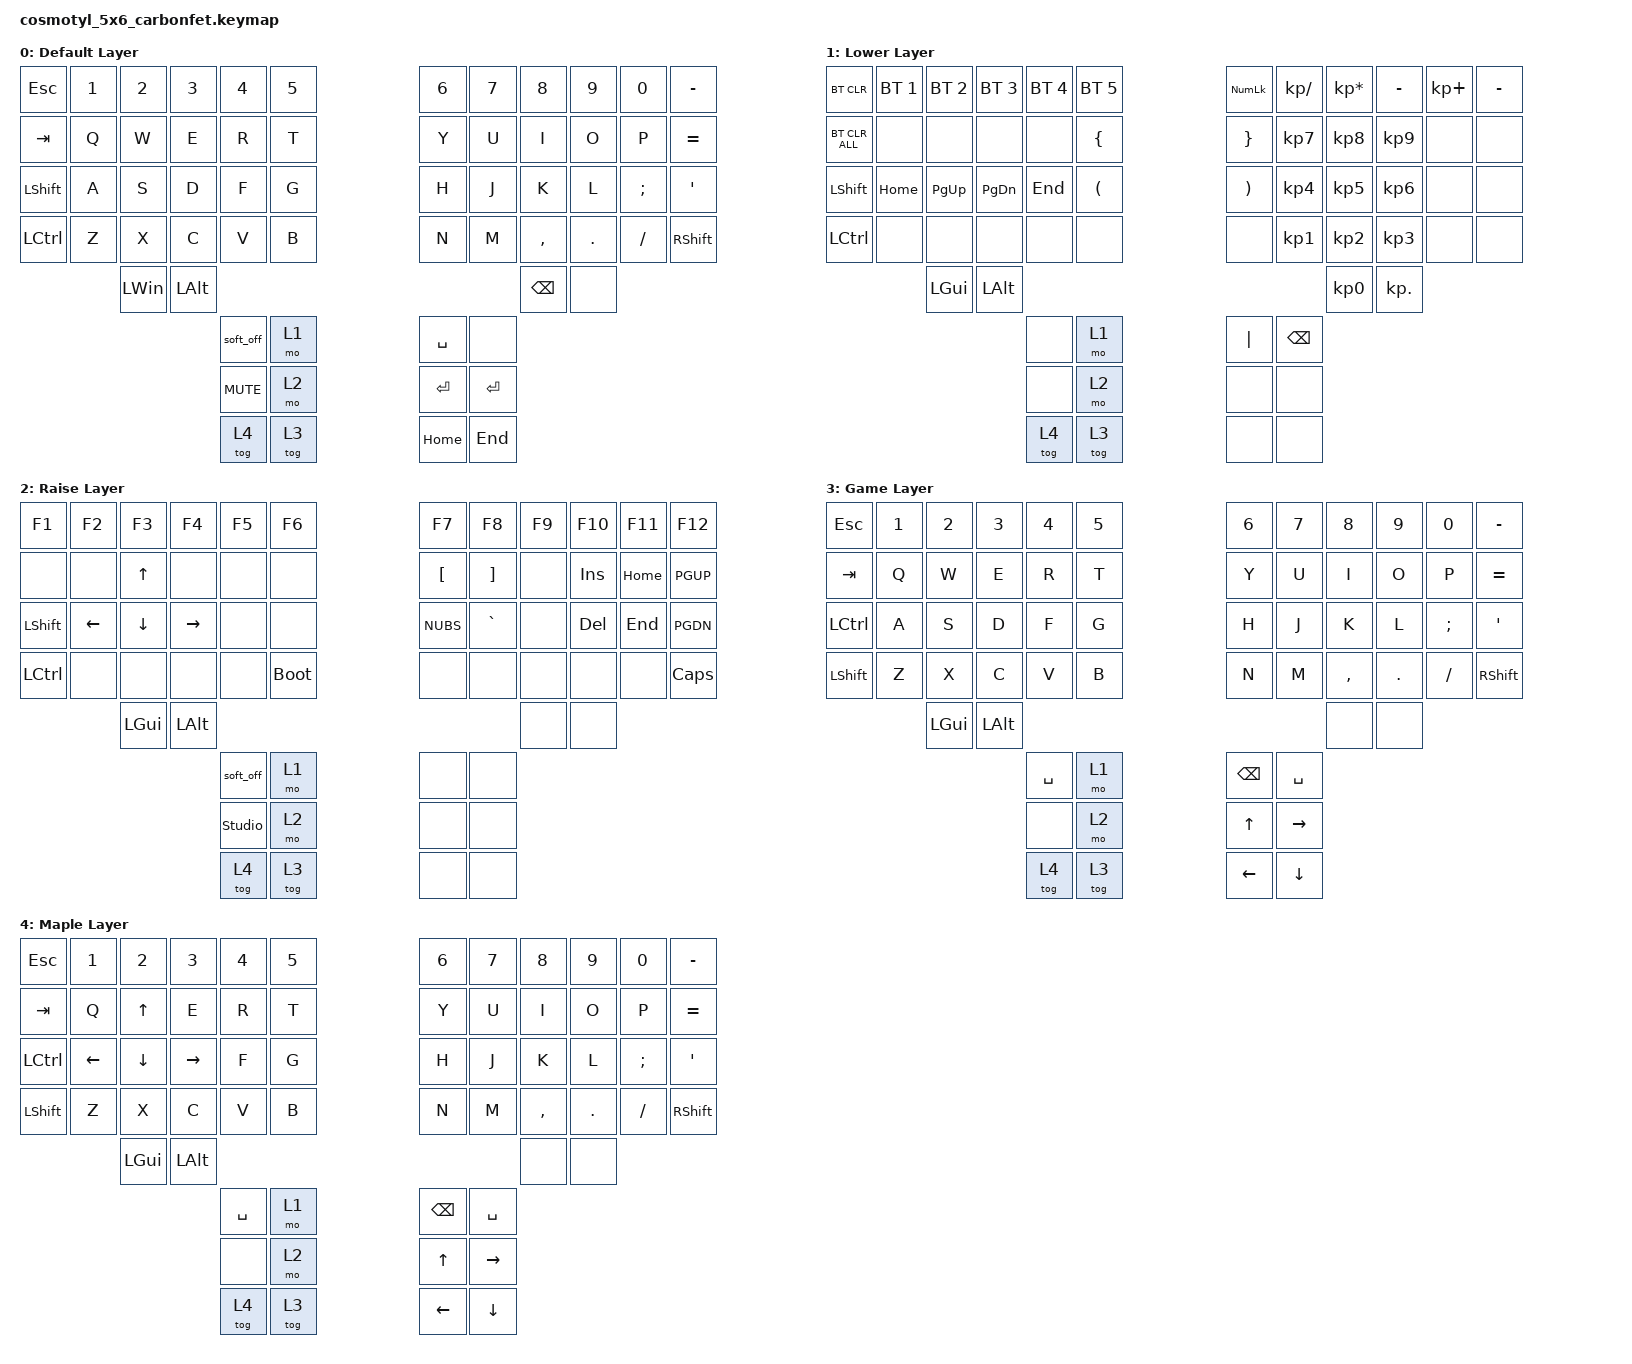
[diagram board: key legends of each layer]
/*
 * Copyright (c) 2020 The ZMK Contributors
 *
 * SPDX-License-Identifier: MIT
 */

#include <behaviors.dtsi>
#include <dt-bindings/zmk/keys.h>
#include <dt-bindings/zmk/bt.h>

&soft_off {
    hold-time-ms = <2000>; // Only turn off it the key is held for 5 seconds or longer.
};

/ {
        keymap {
                compatible = "zmk,keymap";

                default_layer {
                        display-name = "Default Layer";
                        bindings = <
                                &kp ESC    &kp N1  &kp N2  &kp N3  &kp N4     &kp N5                                             &kp N6     &kp N7         &kp N8        &kp N9     &kp N0     &kp MINUS
                                &kp TAB    &kp Q   &kp W   &kp E   &kp R      &kp T                                              &kp Y      &kp U          &kp I         &kp O      &kp P      &kp EQUAL
                                &kp LSHFT  &kp A   &kp S   &kp D   &kp F      &kp G                                              &kp H      &kp J          &kp K         &kp L      &kp SEMI   &kp SQT
                                &kp LCTRL  &kp Z   &kp X   &kp C   &kp V      &kp B                                              &kp N      &kp M          &kp COMMA     &kp DOT    &kp SLASH  &kp RSHFT
                                                   &kp LWIN     &kp LALT                                                                                   &kp BACKSPACE &none
                                                                &soft_off     &mo 1                                          &kp SPACE     &none
                                                                &kp K_MUTE    &mo 2                                          &kp RET       &kp RET
                                                                &tog 4        &tog 3                                         &kp HOME      &kp END
                                        >;
                                };

                Lower_layer {
                        display-name = "Lower Layer";
                        bindings = <
                                &bt BT_CLR     &bt BT_SEL 1    &bt BT_SEL 2         &bt BT_SEL 3  	&bt BT_SEL 4     &bt BT_SEL 5                    	&kp KP_NUM   &kp KP_SLASH 	&kp KP_ASTERISK    &kp MINUS         &kp KP_PLUS  &kp MINUS 
                                &bt BT_CLR_ALL &none           &none                &none 	        &none            &kp LBRC                         	&kp RBRC     &kp KP_NUMBER_7    &kp KP_NUMBER_8    &kp KP_NUMBER_9   &none        &none  
                                &kp LSHFT      &kp HOME        &kp PG_UP            &kp PG_DN           &kp END          &kp LPRN                               &kp RPRN     &kp KP_NUMBER_4    &kp KP_NUMBER_5    &kp KP_NUMBER_6   &none        &none  
                                &kp LCTRL      &none           &none                &none 	        &none            &none                        		&none 	     &kp KP_NUMBER_1    &kp KP_NUMBER_2    &kp KP_NUMBER_3   &none        &none  
                                                               &kp LGUI             &kp LALT            							                                &kp KP_NUMBER_0    &kp KP_DOT 
                                                                                &none	   &mo 1  	                                                         &kp PIPE &kp BSPC 
                                                                                &none 	   &mo 2           	                                                 &none &none 
                                                                                &tog 4     &tog 3                                                                &none &none
                                        >;
                                };
                Raise_layer {
                        display-name = "Raise Layer"; 
                        bindings = <
                                        &kp F1 	  &kp F2   &kp F3    	&kp F4    &kp F5  &kp F6                   		&kp F7    &kp F8    &kp F9 &kp F10  &kp F11   &kp F12 
                                        &none     &none    &kp UP       &none     &none  &none                    		&kp LBKT  &kp RBKT  &none  &kp INS  &kp HOME  &kp PGUP
                                        &kp LSHFT &kp LEFT &kp DOWN  	&kp RIGHT &none  &none                    		&kp NUBS  &kp GRAVE &none  &kp DEL  &kp END   &kp PGDN
                                        &kp LCTRL &none    &none     	&none     &none  &bootloader				&none     &none     &none  &none    &none     &kp CAPS
                                                           &kp LGUI     &kp LALT             			                  	            &none  &none
                                                                                &soft_off       &mo 1 	              	&none &none 
                                                                                &studio_unlock 	&mo 2      	        &none &none 
                                                                                &tog 4          &tog 3             	&none &none		
                                        >;		

                                 };
                Game_layer {
                        display-name = "Game Layer"; 
                        bindings = <
                                        &kp ESC    &kp N1   &kp N2   &kp N3   &kp N4   &kp N5                           &kp N6   &kp N7   &kp N8    &kp N9   &kp N0    &kp MINUS 
                                        &kp TAB    &kp Q    &kp W    &kp E    &kp R    &kp T                            &kp Y    &kp U    &kp I     &kp O    &kp P     &kp EQUAL 
                                        &kp LCTRL  &kp A    &kp S    &kp D    &kp F    &kp G                            &kp H    &kp J    &kp K     &kp L    &kp SEMI  &kp SQT 
                                        &kp LSHFT  &kp Z    &kp X    &kp C    &kp V    &kp B                            &kp N    &kp M    &kp COMMA &kp DOT  &kp SLASH &kp RSHFT 
                                                        &kp LGUI &kp LALT                                                        		  &none  &none 
                                                                        &kp SPACE &mo 1                     	 	 &kp BACKSPACE &kp SPACE 
                                                                        &none     &mo 2				         &kp UP    &kp RIGHT 
                                                                        &tog 4    &tog 3                         	 &kp LEFT  &kp DOWN		
                                        >;	
                                };
                Maple_layer {
                        display-name = "Maple Layer"; 
                        bindings = <
                                        &kp ESC    &kp N1   &kp N2    &kp N3    &kp N4   &kp N5                           &kp N6   &kp N7   &kp N8    &kp N9   &kp N0    &kp MINUS 
                                        &kp TAB    &kp Q    &kp UP    &kp E     &kp R    &kp T                            &kp Y    &kp U    &kp I     &kp O    &kp P     &kp EQUAL 
                                        &kp LCTRL  &kp LEFT &kp DOWN  &kp RIGHT &kp F    &kp G                            &kp H    &kp J    &kp K     &kp L    &kp SEMI  &kp SQT 
                                        &kp LSHFT  &kp Z    &kp X    &kp C      &kp V    &kp B                            &kp N    &kp M    &kp COMMA &kp DOT  &kp SLASH &kp RSHFT 
                                                        &kp LGUI &kp LALT                                                        		  &none  &none 
                                                                        &kp SPACE  &mo 1                       	 	 &kp BACKSPACE &kp SPACE 
                                                                        &none 	   &mo 2				 &kp UP    &kp RIGHT 
                                                                        &tog 4     &tog 3                         	 &kp LEFT  &kp DOWN		
                                        >;	
                                };
                };
};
